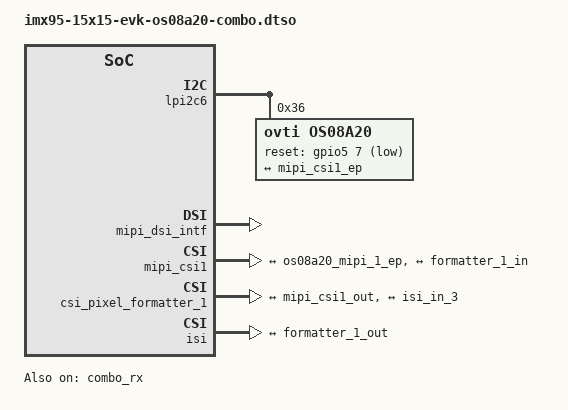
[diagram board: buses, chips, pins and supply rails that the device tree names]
// SPDX-License-Identifier: (GPL-2.0+ OR MIT)
/*
 * Copyright 2024 NXP
 */

/dts-v1/;
/plugin/;

#include <dt-bindings/gpio/gpio.h>
#include "imx95-pinfunc.h"

&scmi_iomuxc {
	pinctrl_mipi_dsi_csi_rst: mipidsirstgrp {
		fsl,pins = <
			IMX95_PAD_XSPI1_DATA7__GPIO5_IO_BIT7			0x31e
		>;
	};
};

&lpi2c6 {
	#address-cells = <1>;
	#size-cells = <0>;
	status = "okay";

	os08a20: os08a20_mipi@36 {
		compatible = "ovti,os08a20";
		reg = <0x36>;
		pinctrl-0 = <&pinctrl_mipi_dsi_csi_rst>;
		reset-gpios = <&gpio5 7 GPIO_ACTIVE_LOW>;
		orientation = <2>;
		rotation = <0>;
		status = "okay";

		port {
			os08a20_mipi_1_ep: endpoint {
				remote-endpoint = <&mipi_csi1_ep>;
				data-lanes = <1 2 3 4>;
				clock-lanes = <0>;
			};
		};
	};
};

&display_stream_csr {
	status = "disabled";
};

&display_master_csr {
	status = "disabled";
};

&mipi_tx_phy_csr {
	status = "disabled";
};

&mipi_dsi_intf {
	status = "okay";
};

&combo_rx {
	status = "okay";
};

&mipi_csi1 {
	status = "okay";

	ports {
		#address-cells = <1>;
		#size-cells = <0>;

		port@0 {
			reg = <0>;
			mipi_csi1_ep: endpoint {
				remote-endpoint = <&os08a20_mipi_1_ep>;
				data-lanes = <1 2 3 4>;
				clock-lanes = <0>;
			};
		};

		port@1 {
			reg = <1>;
				mipi_csi1_out: endpoint {
				remote-endpoint = <&formatter_1_in>;
			};
		};
	};
};

&csi_pixel_formatter_1 {
	status = "okay";

	ports {
		#address-cells = <1>;
		#size-cells = <0>;

		port@0 {
			reg = <0>;

			formatter_1_in: endpoint {
				remote-endpoint = <&mipi_csi1_out>;
			};
		};

		port@1 {
			reg = <1>;

			formatter_1_out: endpoint {
				remote-endpoint = <&isi_in_3>;
			};
		};
	};
};

&isi {
	status = "okay";

	ports {
		#address-cells = <1>;
		#size-cells = <0>;

		port@3 {
			reg = <3>;

			isi_in_3: endpoint {
				remote-endpoint = <&formatter_1_out>;
			};
		};
	};
};
